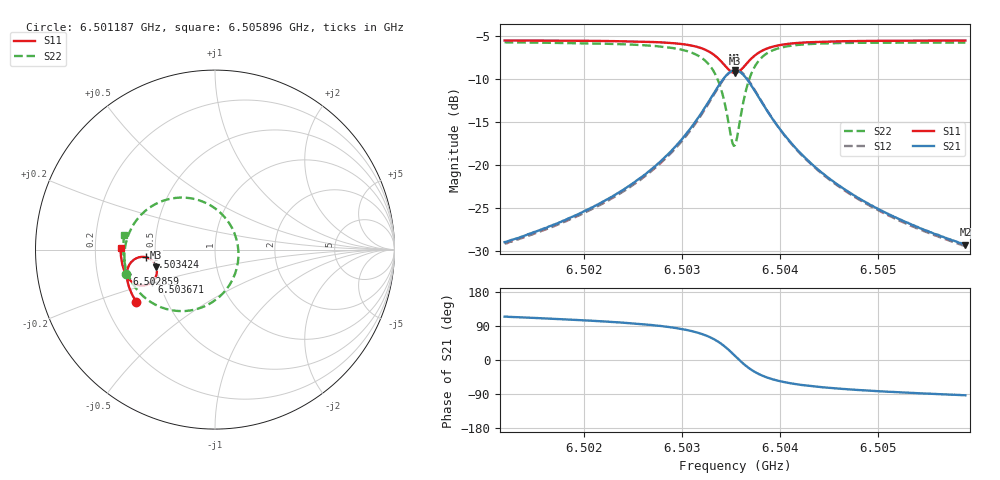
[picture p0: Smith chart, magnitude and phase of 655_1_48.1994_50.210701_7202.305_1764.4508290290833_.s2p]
#  HZ  S  RI  R  50.00
! Rohde & Schwarz Vector Network Analyzer
! Rohde-Schwarz,ZNB20-2Port,1311601062101988,3.16
! Created: UTC 3/20/2024, 12:05:23 PM
! freq[Hz]  re:S11  im:S11  re:S21  im:S21  re:S12  im:S12  re:S22  im:S22
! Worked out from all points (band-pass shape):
!   401 points, 6.501187 GHz to 6.505896 GHz, reference 50 ohm
!   highest |S21| = -9.04 dB at 6.503542 GHz (marker M1); lowest = -29.2 dB at 6.505896 GHz (marker M2)
!   |S21| within 3 dB of the highest: 6.503306 GHz to 6.503778 GHz (471.4 kHz wide, 0.00725 % of centre)
!   lowest |S11| = -9.3 dB at 6.503542 GHz (marker M3), VSWR 2.04, Z = 25 - j5.52 ohm
!   |S11| at or under -10 dB: nowhere
!   |S22| runs from -17.8 to -5.8 dB; largest |S21 - S12| = 0.013
!   S11 on the Smith chart (normalised r, x): 6.501187 GHz: 0.34, -0.27; 6.502859 GHz: 0.33, -0.12; 6.503424 GHz: 0.45, -0.05; 6.503671 GHz: 0.46, -0.19; 6.505896 GHz: 0.31, +0.01
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6.501187e9  -0.4376 -0.2925  -0.0148 0.0326  -0.0128 0.0326  -0.4957 -0.1342
6.5019758e9  -0.4699 -0.2321  -0.0138 0.0513  -0.0111 0.0508  -0.5051 -0.0464
6.5024115e9  -0.4841 -0.1919  -0.0104 0.0719  -0.00701 0.0707  -0.4995 0.0194
6.5027647e9  -0.4912 -0.1507  -0.000326 0.1032  0.00368 0.1005  -0.4771 0.0956
6.5028589e9  -0.4914 -0.1372  0.00543 0.1157  0.00985 0.1126  -0.4643 0.1225
6.503059e9  -0.4855 -0.1027  0.0307 0.1524  0.0348 0.1475  -0.4122 0.1936
6.5032003e9  -0.4689 -0.0721  0.0724 0.1875  0.0756 0.1811  -0.3317 0.2537
6.5033298e9  -0.4311 -0.0454  0.1526 0.2138  0.1538 0.207  -0.1857 0.2898
6.503424e9  -0.3825 -0.0433  0.2477 0.196  0.2484 0.1906  -0.021 0.2439
6.5035064e9  -0.3381 -0.0743  0.3289 0.1181  0.3318 0.1128  0.1088 0.0899
6.5035417e9  -0.3269 -0.0977  0.3469 0.0671  0.3511 0.0605  0.1303 -0.00577
6.5035653e9  -0.3238 -0.1148  0.3503 0.0309  0.3549 0.0231  0.1275 -0.0721
6.5036006e9  -0.3261 -0.14  0.3425 -0.0213  0.3464 -0.0315  0.0987 -0.1652
6.5036712e9  -0.3495 -0.1788  0.2934 -0.1007  0.2933 -0.1137  -0.0168 -0.2938
6.5037654e9  -0.3921 -0.1994  0.2116 -0.1454  0.2061 -0.1569  -0.1837 -0.3425
6.5038361e9  -0.4192 -0.1994  0.1621 -0.1505  0.1546 -0.1596  -0.2766 -0.3294
6.5039185e9  -0.4431 -0.192  0.1198 -0.1443  0.1119 -0.1504  -0.3507 -0.2967
6.5040833e9  -0.4731 -0.1707  0.0701 -0.1223  0.0628 -0.1252  -0.4317 -0.2268
6.5043306e9  -0.4958 -0.1395  0.0358 -0.0942  0.0304 -0.095  -0.4809 -0.1469
6.5047073e9  -0.5122 -0.0987  0.0151 -0.068  0.0113 -0.0676  -0.5053 -0.066
6.5051194e9  -0.521 -0.0596  0.00549 -0.0514  0.00291 -0.0507  -0.5113 -0.00425
6.5058965e9  -0.5262 0.00732  -0.00186 -0.0346  -0.00344 -0.0337  -0.5047 0.0819
